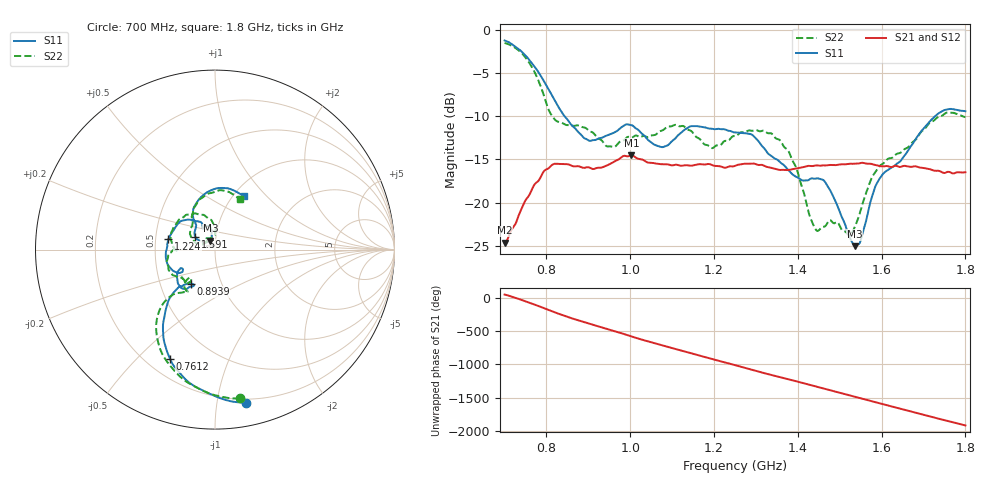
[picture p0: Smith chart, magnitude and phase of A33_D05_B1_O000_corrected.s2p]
! Created with skrf 1.9.0 (http://scikit-rf.org).
# Hz S RI R 50.0
!freq ReS11 ImS11 ReS21 ImS21 ReS12 ImS12 ReS22 ImS22
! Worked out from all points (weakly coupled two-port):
!   1601 points, 700 MHz to 1.8 GHz, reference 50 ohm
!   highest |S21| = -14.54 dB at 1.002 GHz (marker M1); lowest = -24.6 dB at 700.7 MHz (marker M2)
!   lowest |S11| = -25.0 dB at 1.536 GHz (marker M3), VSWR 1.12, Z = 47.3 + j4.71 ohm
!   |S11| at or under -10 dB: 843.2 MHz to 1.728 GHz (884.4 MHz wide, 68.8 % of centre)
!   |S22| runs from -23.8 to -1.5 dB; largest |S21 - S12| = 0.0035
!   S11 on the Smith chart (normalised r, x): 700 MHz: 0.17, -1.21; 761.2 MHz: 0.29, -0.63; 893.9 MHz: 0.71, -0.29; 1.224 GHz: 0.58, +0.08; 1.591 GHz: 0.79, +0.12; 1.8 GHz: 1.12, +0.75
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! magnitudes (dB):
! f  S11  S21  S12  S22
! 700 MHz  -1.2  -24.6  -24.4  -1.5
! 700.7 MHz  -1.2  -24.6  -24.3  -1.5
! 761.2 MHz  -3.6  -18.9  -18.8  -4.0
! 817.6 MHz  -7.9  -15.5  -15.6  -10.2
! 883.6 MHz  -12.2  -15.9  -15.8  -11.2
! 893.9 MHz  -12.6  -15.9  -16.0  -11.4
! 946.8 MHz  -12.2  -15.6  -15.7  -13.5
! 1.002 GHz  -11.0  -14.5  -14.6  -12.5
! 1.067 GHz  -13.5  -15.5  -15.5  -11.9
! 1.145 GHz  -11.2  -15.7  -15.7  -11.7
! 1.224 GHz  -11.5  -16.0  -15.9  -12.9
! 1.25 GHz  -11.9  -15.7  -15.7  -12.3
! 1.358 GHz  -15.3  -16.2  -16.2  -12.8
! 1.396 GHz  -17.0  -16.1  -16.0  -15.9
! 1.434 GHz  -17.2  -15.8  -15.7  -22.2
! 1.469 GHz  -17.9  -15.7  -15.7  -22.5
! 1.536 GHz  -25.0  -15.5  -15.5  -22.8
! 1.55 GHz  -24.3  -15.4  -15.4  -20.8
! 1.591 GHz  -17.6  -15.7  -15.7  -16.0
! 1.617 GHz  -16.2  -15.8  -15.8  -14.9
! 1.734 GHz  -9.7  -16.3  -16.4  -10.1
! 1.8 GHz  -9.4  -16.5  -16.5  -10.1
